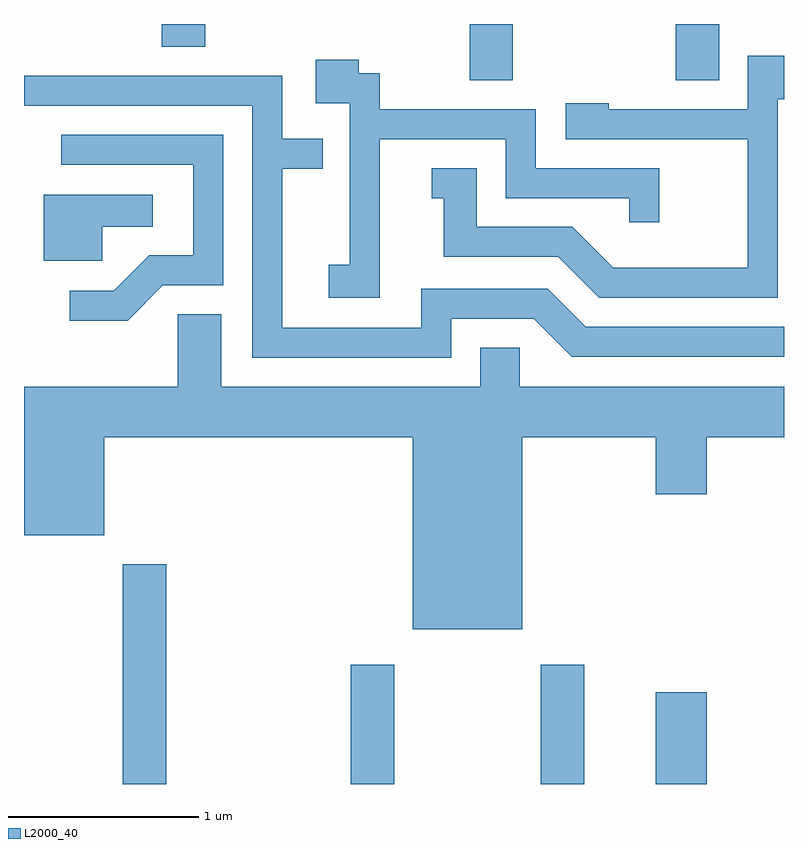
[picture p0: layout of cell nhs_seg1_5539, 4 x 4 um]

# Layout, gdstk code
import gdstk
lib = gdstk.Library(unit=1e-6, precision=1e-09)
def R(c, l, rs):  # rectangles x0, y0, x1, y1
    for r in rs: c.add(gdstk.rectangle(r[:2], r[2:], *l))
def P(c, l, *ps):  # polygons
    for p in ps: c.add(gdstk.Polygon(p, *l))
L2000_40 = (2000, 40)

nhs_seg1_5539 = lib.new_cell('nhs_seg1_5539')
R(nhs_seg1_5539, L2000_40, [(352.131,937.712,352.359,938.869), (353.331,937.712,353.559,938.339), (354.331,937.712,354.559,938.339), (354.936,937.712,355.204,938.194), (353.956,941.416,354.184,941.712), (355.041,941.416,355.269,941.712), (352.336,941.591,352.564,941.712)])
P(nhs_seg1_5539, L2000_40, [(355.579,941.316),(355.611,941.316),(355.611,941.544),(355.421,941.544),(355.421,941.264),(354.689,941.264),(354.689,941.294),(354.461,941.294),(354.461,941.106),(355.421,941.106),(355.421,940.429),(354.712,940.429),(354.497,940.644),(353.994,940.644),(353.994,940.954),(353.758,940.954),(353.758,940.796),(353.821,940.796),(353.821,940.486),(354.424,940.486),(354.639,940.271),(355.579,940.271)],
  [(353.484,941.106),(354.146,941.106),(354.146,940.796),(354.796,940.796),(354.796,940.668),(354.954,940.668),(354.954,940.954),(354.304,940.954),(354.304,941.264),(353.484,941.264),(353.484,941.454),(353.374,941.454),(353.374,941.524),(353.146,941.524),(353.146,941.296),(353.326,941.296),(353.326,940.444),(353.216,940.444),(353.216,940.271),(353.484,940.271)],
  [(353.859,940.161),(354.294,940.161),(354.494,939.961),(355.611,939.961),(355.611,940.119),(354.567,940.119),(354.367,940.319),(353.701,940.319),(353.701,940.114),(352.969,940.114),(352.969,940.951),(353.183,940.951),(353.183,941.109),(352.969,941.109),(352.969,941.439),(351.611,941.439),(351.611,941.281),(352.811,941.281),(352.811,939.956),(353.859,939.956)],
  [(352.342,940.336),(352.659,940.336),(352.659,941.129),(351.808,941.129),(351.808,940.971),(352.501,940.971),(352.501,940.494),(352.269,940.494),(352.084,940.309),(351.853,940.309),(351.853,940.151),(352.157,940.151)],
  [(352.024,940.646),(352.288,940.646),(352.288,940.814),(351.716,940.814),(351.716,940.466),(352.024,940.466)],
  [(354.234,939.536),(354.936,939.536),(354.936,939.236),(355.204,939.236),(355.204,939.536),(355.611,939.536),(355.611,939.804),(354.219,939.804),(354.219,940.009),(354.011,940.009),(354.011,939.804),(352.649,939.804),(352.649,940.184),(352.421,940.184),(352.421,939.804),(351.611,939.804),(351.611,939.021),(352.034,939.021),(352.034,939.536),(353.656,939.536),(353.656,938.526),(354.234,938.526)])

lib.write_gds('nhs_seg1_5539.gds')
